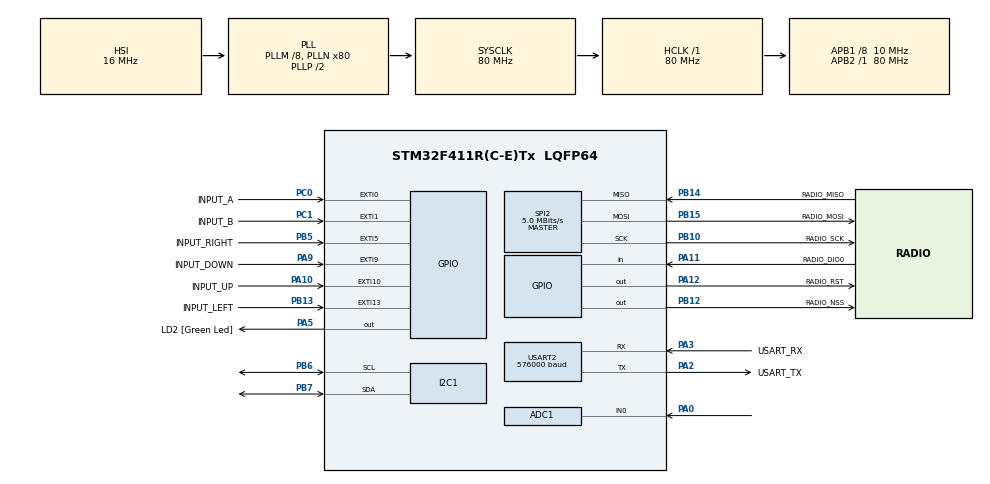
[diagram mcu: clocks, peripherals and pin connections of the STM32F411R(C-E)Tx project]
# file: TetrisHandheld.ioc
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ADC1.Channel-0\#ChannelRegularConversion=ADC_CHANNEL_0
ADC1.NbrOfConversionFlag=1
ADC1.Rank-0\#ChannelRegularConversion=1
ADC1.SamplingTime-0\#ChannelRegularConversion=ADC_SAMPLETIME_3CYCLES
ADC1.master=1
FREERTOS.Mutexes01=radioMutex,Static,radioMutexControlBlock,Available
FREERTOS.Queues01=radioReceived,16,17,1,Static,radioReceivedBuffer,radioReceivedControlBlock;radioTransmit,16,17,1,Static,radioTransmitBuffer,radioTransmitControlBlock;inputQueue,16,8,1,Static,myQueue01Buffer,myQueue01ControlBlock
FREERTOS.Tasks01=defaultTask,24,256,StartDefaultTask,Default,NULL,Static,defaultTaskBuffer,defaultTaskControlBlock;radioReceiver,24,256,StartTask02,Default,NULL,Static,radioReceiverBuffer,radioReceiverControlBlock;radioTransmitte,24,256,StartTask03,Default,NULL,Static,radioTransmitteBuffer,radioTransmitteControlBlock
FREERTOS.configUSE_NEWLIB_REENTRANT=1
I2C1.I2C_Mode=I2C_Fast
Mcu.Family=STM32F4
Mcu.Name=STM32F411R(C-E)Tx
Mcu.Package=LQFP64
NVIC.EXTI0_IRQn=true\:5\:0\:false\:false\:true\:true\:true\:true\:true
NVIC.EXTI15_10_IRQn=true\:5\:0\:false\:false\:true\:true\:true\:true\:true
NVIC.EXTI1_IRQn=true\:5\:0\:false\:false\:true\:true\:true\:true\:true
NVIC.EXTI9_5_IRQn=true\:5\:0\:false\:false\:true\:true\:true\:true\:true
NVIC.PriorityGroup=NVIC_PRIORITYGROUP_4
NVIC.SPI2_IRQn=true\:5\:0\:false\:false\:true\:true\:true\:true\:true
NVIC.TIM2_IRQn=true\:15\:0\:false\:false\:true\:false\:false\:true\:true
NVIC.TimeBase=TIM2_IRQn
NVIC.TimeBaseIP=TIM2
NVIC.USART2_IRQn=true\:5\:0\:false\:false\:true\:true\:true\:true\:true
PA0-WKUP.Signal=ADCx_IN0
PA10.GPIO_Label=INPUT_UP
PA10.GPIO_ModeDefaultEXTI=GPIO_MODE_IT_RISING_FALLING
PA10.GPIO_PuPd=GPIO_PULLUP
PA10.Signal=GPXTI10
PA11.GPIO_Label=RADIO_DIO0
PA11.Signal=GPIO_Input
PA12.GPIO_Label=RADIO_RST
PA12.PinState=GPIO_PIN_SET
PA12.Signal=GPIO_Output
PA13.GPIO_Label=TMS
PA13.Mode=Serial_Wire
PA13.Signal=SYS_JTMS-SWDIO
PA14.GPIO_Label=TCK
PA14.Mode=Serial_Wire
PA14.Signal=SYS_JTCK-SWCLK
PA2.GPIO_Label=USART_TX
PA2.Mode=Asynchronous
PA2.Signal=USART2_TX
PA3.GPIO_Label=USART_RX
PA3.Mode=Asynchronous
PA3.Signal=USART2_RX
PA5.GPIO_Label=LD2 [Green Led]
PA5.Signal=GPIO_Output
PA9.GPIO_Label=INPUT_DOWN
PA9.GPIO_ModeDefaultEXTI=GPIO_MODE_IT_RISING_FALLING
PA9.GPIO_PuPd=GPIO_PULLUP
PA9.Signal=GPXTI9
PB10.GPIO_Label=RADIO_SCK
PB10.Mode=Full_Duplex_Master
PB10.Signal=SPI2_SCK
PB12.GPIO_Label=RADIO_NSS
PB12.PinState=GPIO_PIN_SET
PB12.Signal=GPIO_Output
PB13.GPIO_Label=INPUT_LEFT
PB13.GPIO_ModeDefaultEXTI=GPIO_MODE_IT_RISING_FALLING
PB13.GPIO_PuPd=GPIO_PULLUP
PB13.Signal=GPXTI13
PB14.GPIO_Label=RADIO_MISO
PB14.Mode=Full_Duplex_Master
PB14.Signal=SPI2_MISO
PB15.GPIO_Label=RADIO_MOSI
PB15.Mode=Full_Duplex_Master
PB15.Signal=SPI2_MOSI
PB3.GPIO_Label=SWO
PB3.Signal=SYS_JTDO-SWO
PB5.GPIO_Label=INPUT_RIGHT
PB5.GPIO_ModeDefaultEXTI=GPIO_MODE_IT_RISING_FALLING
PB5.GPIO_PuPd=GPIO_PULLUP
PB5.Signal=GPXTI5
PB6.GPIO_Pu=GPIO_NOPULL
PB6.Mode=I2C
PB6.Signal=I2C1_SCL
PB7.GPIO_Pu=GPIO_NOPULL
PB7.Mode=I2C
PB7.Signal=I2C1_SDA
PC0.GPIO_Label=INPUT_A
PC0.GPIO_ModeDefaultEXTI=GPIO_MODE_IT_RISING_FALLING
PC0.GPIO_PuPd=GPIO_PULLUP
PC0.Signal=GPXTI0
PC1.GPIO_Label=INPUT_B
PC1.GPIO_ModeDefaultEXTI=GPIO_MODE_IT_RISING_FALLING
PC1.GPIO_PuPd=GPIO_PULLUP
PC1.Signal=GPXTI1
PC14-OSC32_IN.Mode=LSE-External-Oscillator
PC14-OSC32_IN.Signal=RCC_OSC32_IN
PC15-OSC32_OUT.Mode=LSE-External-Oscillator
PC15-OSC32_OUT.Signal=RCC_OSC32_OUT
PH0\ -\ OSC_IN.Mode=HSE-External-Clock-Source
PH0\ -\ OSC_IN.Signal=RCC_OSC_IN
PH1\ -\ OSC_OUT.Mode=HSE-External-Clock-Source
PH1\ -\ OSC_OUT.Signal=RCC_OSC_OUT
ProjectManager.HeapSize=0x200
ProjectManager.StackSize=0x400
ProjectManager.TargetToolchain=CMake
RCC.48MHZClocksFreq_Value=40000000
RCC.AHBFreq_Value=80000000
RCC.APB1CLKDivider=RCC_HCLK_DIV8
RCC.APB1Freq_Value=10000000
RCC.APB1TimFreq_Value=20000000
RCC.APB2Freq_Value=80000000
RCC.APB2TimFreq_Value=80000000
RCC.CortexFreq_Value=80000000
RCC.FLatency-AdvancedSettings=FLASH_LATENCY_2
RCC.HCLKFreq_Value=80000000
RCC.HSE_VALUE=8000000
RCC.HSI_VALUE=16000000
RCC.PLLM=8
RCC.PLLN=80
RCC.SYSCLKFreq_VALUE=80000000
RCC.SYSCLKSource=RCC_SYSCLKSOURCE_PLLCLK
RCC.VCOOutputFreq_Value=160000000
SH.ADCx_IN0.0=ADC1_IN0,IN0
SPI2.CalculateBaudRate=5.0 MBits/s
SPI2.Direction=SPI_DIRECTION_2LINES
SPI2.Mode=SPI_MODE_MASTER
SPI2.VirtualType=VM_MASTER
USART2.BaudRate=576000
USART2.VirtualMode=VM_ASYNC
VP_FREERTOS_VS_CMSIS_V2.Mode=CMSIS_V2
VP_SYS_VS_tim2.Mode=TIM2
board=NUCLEO-F411RE

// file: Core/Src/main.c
/* USER CODE BEGIN Header */
/**
  ******************************************************************************
  * @file           : main.c
  * @brief          : Main program body
  ******************************************************************************
  * @attention
  *
  * Copyright (c) 2026 STMicroelectronics.
  * All rights reserved.
  *
  * This software is licensed under terms that can be found in the LICENSE file
  * in the root directory of this software component.
  * If no LICENSE file comes with this software, it is provided AS-IS.
  *
  ******************************************************************************
  */
/* USER CODE END Header */
#include "main.h"
#include "cmsis_os.h"
#include "adc.h"
#include "i2c.h"
#include "spi.h"
#include "usart.h"
#include "gpio.h"

/* USER CODE BEGIN Includes */
// TODO: Remove
#include "ssd1306.h"
/* USER CODE END Includes */

void SystemClock_Config(void);
void MX_FREERTOS_Init(void);

/* USER CODE BEGIN 0 */
uint8_t screen_buf[SSD1306_BUFFER_SIZE] = { 0 };
/* USER CODE END 0 */

int main(void)
{

  /* MCU Configuration--------------------------------------------------------*/

  /* Reset of all peripherals, Initializes the Flash interface and the Systick. */
  HAL_Init();

  /* Configure the system clock */
  SystemClock_Config();

  /* Initialize all configured peripherals */
  MX_GPIO_Init();
  MX_USART2_UART_Init();
  MX_I2C1_Init();
  MX_SPI2_Init();
  MX_ADC1_Init();

  /* Init scheduler */
  osKernelInitialize();  /* Call init function for freertos objects (in cmsis_os2.c) */
  MX_FREERTOS_Init();

  /* Start scheduler */
  osKernelStart();

  /* We should never get here as control is now taken by the scheduler */

  /* Infinite loop */
  while (1)
  {

  }
}

void SystemClock_Config(void)
{
  RCC_OscInitTypeDef RCC_OscInitStruct = {0};
  RCC_ClkInitTypeDef RCC_ClkInitStruct = {0};

  /** Configure the main internal regulator output voltage
  */
  __HAL_RCC_PWR_CLK_ENABLE();
  __HAL_PWR_VOLTAGESCALING_CONFIG(PWR_REGULATOR_VOLTAGE_SCALE1);

  /** Initializes the RCC Oscillators according to the specified parameters
  * in the RCC_OscInitTypeDef structure.
  */
  RCC_OscInitStruct.OscillatorType = RCC_OSCILLATORTYPE_HSI;
  RCC_OscInitStruct.HSIState = RCC_HSI_ON;
  RCC_OscInitStruct.HSICalibrationValue = RCC_HSICALIBRATION_DEFAULT;
  RCC_OscInitStruct.PLL.PLLState = RCC_PLL_ON;
  RCC_OscInitStruct.PLL.PLLSource = RCC_PLLSOURCE_HSI;
  RCC_OscInitStruct.PLL.PLLM = 8;
  RCC_OscInitStruct.PLL.PLLN = 80;
  RCC_OscInitStruct.PLL.PLLP = RCC_PLLP_DIV2;
  RCC_OscInitStruct.PLL.PLLQ = 4;
  if (HAL_RCC_OscConfig(&RCC_OscInitStruct) != HAL_OK)
  {
    Error_Handler();
  }

  /** Initializes the CPU, AHB and APB buses clocks
  */
  RCC_ClkInitStruct.ClockType = RCC_CLOCKTYPE_HCLK|RCC_CLOCKTYPE_SYSCLK
                              |RCC_CLOCKTYPE_PCLK1|RCC_CLOCKTYPE_PCLK2;
  RCC_ClkInitStruct.SYSCLKSource = RCC_SYSCLKSOURCE_PLLCLK;
  RCC_ClkInitStruct.AHBCLKDivider = RCC_SYSCLK_DIV1;
  RCC_ClkInitStruct.APB1CLKDivider = RCC_HCLK_DIV8;
  RCC_ClkInitStruct.APB2CLKDivider = RCC_HCLK_DIV1;

  if (HAL_RCC_ClockConfig(&RCC_ClkInitStruct, FLASH_LATENCY_2) != HAL_OK)
  {
    Error_Handler();
  }
}

void HAL_TIM_PeriodElapsedCallback(TIM_HandleTypeDef *htim)
{
  if (htim->Instance == TIM2)
  {
    HAL_IncTick();
  }
}

void Error_Handler(void)
{
  __disable_irq();
  while (1)
  {
  }
}

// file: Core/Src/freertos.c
/* USER CODE BEGIN Header */
/**
  ******************************************************************************
  * File Name          : freertos.c
  * Description        : Code for freertos applications
  ******************************************************************************
  * @attention
  *
  * Copyright (c) 2026 STMicroelectronics.
  * All rights reserved.
  *
  * This software is licensed under terms that can be found in the LICENSE file
  * in the root directory of this software component.
  * If no LICENSE file comes with this software, it is provided AS-IS.
  *
  ******************************************************************************
  */
/* USER CODE END Header */

#include "FreeRTOS.h"
#include "task.h"
#include "main.h"
#include "cmsis_os.h"

/* USER CODE BEGIN Includes */
#include "radio.h"
#include "game.h"
#include "input.h"
#include "ssd1306.h"
#include "usart.h"
#include "stdio.h"
#include "string.h"
#include "stdbool.h"
/* USER CODE END Includes */

typedef StaticTask_t osStaticThreadDef_t;
typedef StaticQueue_t osStaticMessageQDef_t;
typedef StaticSemaphore_t osStaticMutexDef_t;

/* Definitions for defaultTask */
osThreadId_t defaultTaskHandle;
uint32_t defaultTaskBuffer[ 256 ];
osStaticThreadDef_t defaultTaskControlBlock;
const osThreadAttr_t defaultTask_attributes = {
  .name = "defaultTask",
  .cb_mem = &defaultTaskControlBlock,
  .cb_size = sizeof(defaultTaskControlBlock),
  .stack_mem = &defaultTaskBuffer[0],
  .stack_size = sizeof(defaultTaskBuffer),
  .priority = (osPriority_t) osPriorityNormal,
};
/* Definitions for radioReceiver */
osThreadId_t radioReceiverHandle;
uint32_t radioReceiverBuffer[ 256 ];
osStaticThreadDef_t radioReceiverControlBlock;
const osThreadAttr_t radioReceiver_attributes = {
  .name = "radioReceiver",
  .cb_mem = &radioReceiverControlBlock,
  .cb_size = sizeof(radioReceiverControlBlock),
  .stack_mem = &radioReceiverBuffer[0],
  .stack_size = sizeof(radioReceiverBuffer),
  .priority = (osPriority_t) osPriorityNormal,
};
/* Definitions for radioTransmitte */
osThreadId_t radioTransmitteHandle;
uint32_t radioTransmitteBuffer[ 256 ];
osStaticThreadDef_t radioTransmitteControlBlock;
const osThreadAttr_t radioTransmitte_attributes = {
  .name = "radioTransmitte",
  .cb_mem = &radioTransmitteControlBlock,
  .cb_size = sizeof(radioTransmitteControlBlock),
  .stack_mem = &radioTransmitteBuffer[0],
  .stack_size = sizeof(radioTransmitteBuffer),
  .priority = (osPriority_t) osPriorityNormal,
};
/* Definitions for radioReceived */
osMessageQueueId_t radioReceivedHandle;
uint8_t radioReceivedBuffer[ 16 * 17 ];
osStaticMessageQDef_t radioReceivedControlBlock;
const osMessageQueueAttr_t radioReceived_attributes = {
  .name = "radioReceived",
  .cb_mem = &radioReceivedControlBlock,
  .cb_size = sizeof(radioReceivedControlBlock),
  .mq_mem = &radioReceivedBuffer,
  .mq_size = sizeof(radioReceivedBuffer)
};
/* Definitions for radioTransmit */
osMessageQueueId_t radioTransmitHandle;
uint8_t radioTransmitBuffer[ 16 * 17 ];
osStaticMessageQDef_t radioTransmitControlBlock;
const osMessageQueueAttr_t radioTransmit_attributes = {
  .name = "radioTransmit",
  .cb_mem = &radioTransmitControlBlock,
  .cb_size = sizeof(radioTransmitControlBlock),
  .mq_mem = &radioTransmitBuffer,
  .mq_size = sizeof(radioTransmitBuffer)
};
/* Definitions for inputQueue */
osMessageQueueId_t inputQueueHandle;
uint8_t myQueue01Buffer[ 16 * 8 ];
osStaticMessageQDef_t myQueue01ControlBlock;
const osMessageQueueAttr_t inputQueue_attributes = {
  .name = "inputQueue",
  .cb_mem = &myQueue01ControlBlock,
  .cb_size = sizeof(myQueue01ControlBlock),
  .mq_mem = &myQueue01Buffer,
  .mq_size = sizeof(myQueue01Buffer)
};
/* Definitions for radioMutex */
osMutexId_t radioMutexHandle;
osStaticMutexDef_t radioMutexControlBlock;
const osMutexAttr_t radioMutex_attributes = {
  .name = "radioMutex",
  .cb_mem = &radioMutexControlBlock,
  .cb_size = sizeof(radioMutexControlBlock),
};

void StartDefaultTask(void *argument);
void StartTask02(void *argument);
void StartTask03(void *argument);

void MX_FREERTOS_Init(void); /* (MISRA C 2004 rule 8.1) */

void MX_FREERTOS_Init(void) {
  /* Create the mutex(es) */
  /* creation of radioMutex */
  radioMutexHandle = osMutexNew(&radioMutex_attributes);

  /* Create the queue(s) */
  /* creation of radioReceived */
  radioReceivedHandle = osMessageQueueNew (16, 17, &radioReceived_attributes);

  /* creation of radioTransmit */
  radioTransmitHandle = osMessageQueueNew (16, 17, &radioTransmit_attributes);

  /* creation of inputQueue */
  inputQueueHandle = osMessageQueueNew (16, 8, &inputQueue_attributes);

  /* Create the thread(s) */
  /* creation of defaultTask */
  defaultTaskHandle = osThreadNew(StartDefaultTask, NULL, &defaultTask_attributes);

  /* creation of radioReceiver */
  radioReceiverHandle = osThreadNew(StartTask02, NULL, &radioReceiver_attributes);

  /* creation of radioTransmitte */
  radioTransmitteHandle = osThreadNew(StartTask03, NULL, &radioTransmitte_attributes);

}

void StartDefaultTask(void *argument)
{
  /* USER CODE BEGIN StartDefaultTask */
    /* initialize radio module */
    radiohw_t hw = {
      .radioMutex = radioMutexHandle,
      .rxQueue    = radioReceivedHandle,
      .txQueue    = radioTransmitHandle,
      .spi        = &hspi2
    };

    inputHw_t inputHw = {
    .pins = {
      .aPin     = INPUT_A_Pin,
      .bPin     = INPUT_B_Pin,
      .leftPin  = INPUT_LEFT_Pin,
      .rightPin = INPUT_RIGHT_Pin,
      .downPin  = INPUT_DOWN_Pin,
      .upPin    = INPUT_UP_Pin
    },
    .ports      = {
      .aPort     = INPUT_A_GPIO_Port,
      .bPort     = INPUT_B_GPIO_Port,
      .leftPort  = INPUT_LEFT_GPIO_Port,
      .rightPort = INPUT_RIGHT_GPIO_Port,
      .downPort  = INPUT_DOWN_GPIO_Port,
      .upPort    = INPUT_UP_GPIO_Port
    }
  };

  radioInit( &hw );
  initInput( &inputHw );
  ssd1306_Init();

  screenInit();
  gameInit();
  /* Infinite loop */
  for(;;)
  {
    osDelay(1000);
  }
  /* USER CODE END StartDefaultTask */
}

void StartTask02(void *argument)
{
  /* USER CODE BEGIN StartTask02 */
  /* Infinite loop */
  for(;;)
  {
    radioReceiverTaskRunner();
  }
  /* USER CODE END StartTask02 */
}

void StartTask03(void *argument)
{
  /* USER CODE BEGIN StartTask03 */
  /* Infinite loop */
  for(;;)
  {
    radioTransmitterTaskRunner();
  }
  /* USER CODE END StartTask03 */
}
